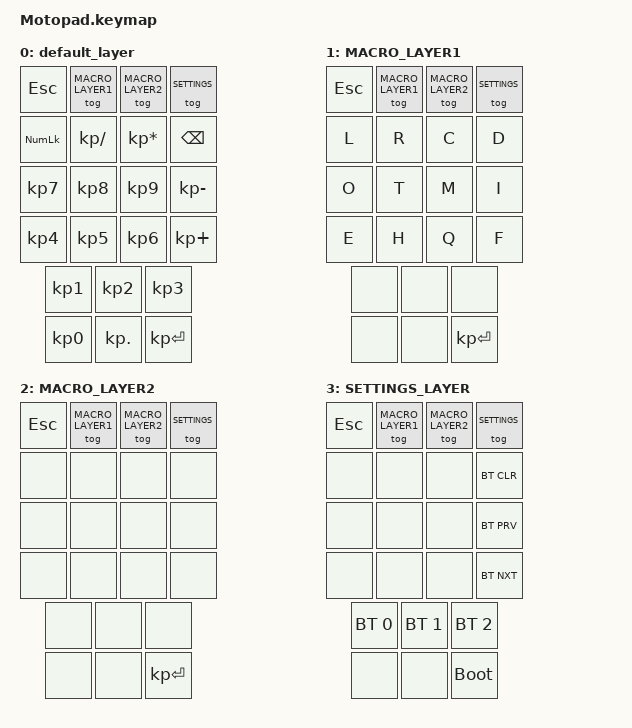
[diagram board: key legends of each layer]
#include <behaviors.dtsi>
#include <dt-bindings/zmk/keys.h>
#include <dt-bindings/zmk/bt.h>

#define DEFAULT 0
#define MACRO_LAYER1 1
#define MACRO_LAYER2 2
#define SETTINGS 3

#define NONE 0

/ {
    keymap {
        compatible = "zmk,keymap";

        default_layer {
            bindings = <
                &kp ESC &tog MACRO_LAYER1 &tog MACRO_LAYER2 &tog SETTINGS
                &kp KP_NUMLOCK &kp KP_DIVIDE &kp KP_MULTIPLY  &kp BACKSPACE
                &kp KP_N7 &kp KP_N8 &kp KP_N9 &kp KP_MINUS
                &kp KP_N4 &kp KP_N5 &kp KP_N6 &kp KP_PLUS
                &kp KP_N1 &kp KP_N2 &kp KP_N3 
                    &kp KP_N0 &kp KP_DOT &kp KP_ENTER 
            >;
        };

        MACRO_LAYER1 {
            bindings = <
                &kp ESC &tog MACRO_LAYER1 &tog MACRO_LAYER2 &tog SETTINGS
                &kp L &kp R &kp C  &kp D
                &kp O &kp T &kp M &kp I
                &kp E &kp H &kp Q &kp F
                &none  &none  &none 
                     &none  &none  &kp KP_ENTER 
            >;
        };

        MACRO_LAYER2 {
            bindings = <
                &kp ESC &tog MACRO_LAYER1 &tog MACRO_LAYER2 &tog SETTINGS
                &none  &none  &none  &none
                &none  &none  &none  &none
                &none  &none  &none  &none
                &none  &none  &none
                    &none  &none  &kp KP_ENTER 
            >;
        };

        SETTINGS_LAYER {
            bindings = <
                &kp ESC &tog MACRO_LAYER1 &tog MACRO_LAYER2 &tog SETTINGS
                &none  &none  &none  &bt BT_CLR
                &none  &none  &none  &bt BT_PRV
                &none  &none  &none  &bt BT_NXT
                &bt BT_SEL 0  &bt BT_SEL 1 &bt BT_SEL 2 
                     &none  &none  &bootloader 
            >;
        };
    };
};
